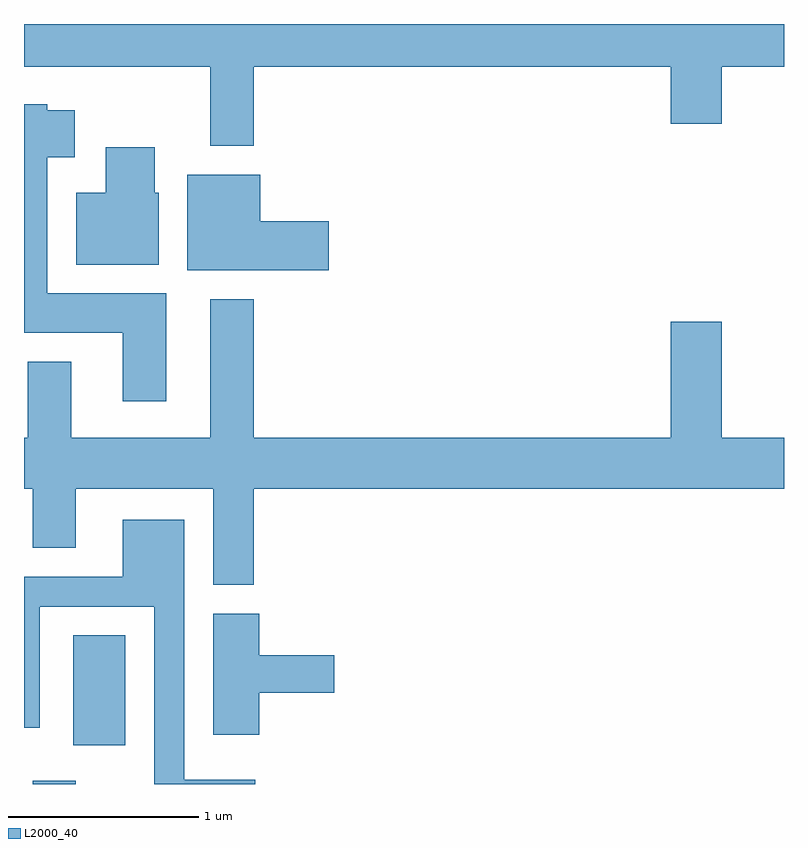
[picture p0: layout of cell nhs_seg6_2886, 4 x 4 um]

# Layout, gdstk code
import gdstk
lib = gdstk.Library(unit=1e-6, precision=1e-09)
def R(c, l, rs):  # rectangles x0, y0, x1, y1
    for r in rs: c.add(gdstk.rectangle(r[:2], r[2:], *l))
def P(c, l, *ps):  # polygons
    for p in ps: c.add(gdstk.Polygon(p, *l))
L2000_40 = (2000, 40)

nhs_seg6_2886 = lib.new_cell('nhs_seg6_2886')
R(nhs_seg6_2886, L2000_40, [(271.656,1646.162,271.884,1646.179), (271.871,1646.366,272.144,1646.944)])
P(nhs_seg6_2886, L2000_40, [(272.819,1649.936),(275.016,1649.936),(275.016,1649.636),(275.284,1649.636),(275.284,1649.936),(275.611,1649.936),(275.611,1650.162),(271.611,1650.162),(271.611,1649.936),(272.591,1649.936),(272.591,1649.521),(272.819,1649.521)],
  [(272.359,1648.744),(271.734,1648.744),(271.734,1649.461),(271.879,1649.461),(271.879,1649.709),(271.734,1649.709),(271.734,1649.739),(271.611,1649.739),(271.611,1648.536),(272.131,1648.536),(272.131,1648.176),(272.359,1648.176)],
  [(272.319,1649.274),(272.299,1649.274),(272.299,1649.514),(272.041,1649.514),(272.041,1649.274),(271.886,1649.274),(271.886,1648.896),(272.319,1648.896)],
  [(273.214,1649.124),(272.854,1649.124),(272.854,1649.369),(272.471,1649.369),(272.471,1648.866),(273.214,1648.866)],
  [(272.819,1647.716),(275.611,1647.716),(275.611,1647.984),(275.284,1647.984),(275.284,1648.594),(275.016,1648.594),(275.016,1647.984),(272.819,1647.984),(272.819,1648.714),(272.591,1648.714),(272.591,1647.984),(271.859,1647.984),(271.859,1648.384),(271.631,1648.384),(271.631,1647.984),(271.611,1647.984),(271.611,1647.716),(271.656,1647.716),(271.656,1647.406),(271.884,1647.406),(271.884,1647.716),(272.606,1647.716),(272.606,1647.211),(272.819,1647.211)],
  [(272.828,1646.184),(272.454,1646.184),(272.454,1647.554),(272.131,1647.554),(272.131,1647.254),(271.611,1647.254),(271.611,1646.458),(271.694,1646.458),(271.694,1647.096),(272.296,1647.096),(272.296,1646.162),(272.828,1646.162)],
  [(272.849,1646.641),(273.244,1646.641),(273.244,1646.839),(272.849,1646.839),(272.849,1647.059),(272.606,1647.059),(272.606,1646.421),(272.849,1646.421)])

lib.write_gds('nhs_seg6_2886.gds')
